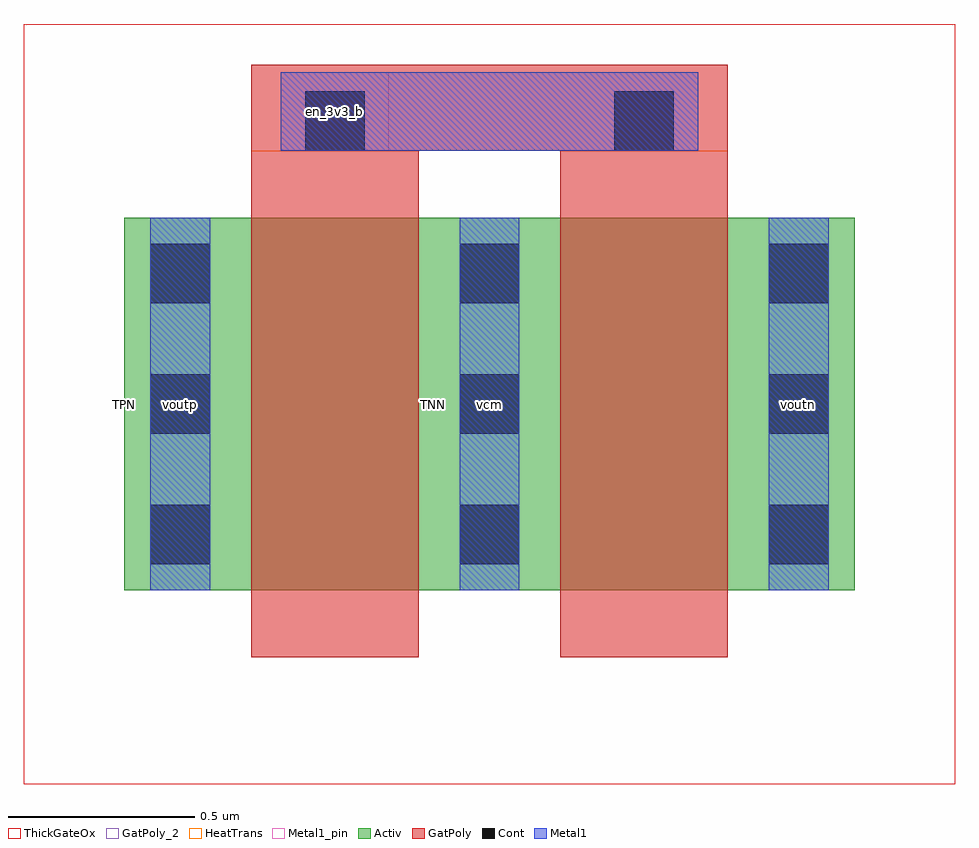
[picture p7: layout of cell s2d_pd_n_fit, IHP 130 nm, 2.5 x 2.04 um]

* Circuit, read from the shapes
.subckt s2d_pd_n_fit en_3v3_b vcm voutn voutp
XM1 vcm en_3v3_b voutp VSUBS sg13_hv_nmos w=1u l=0.45u
XM2 voutn en_3v3_b vcm VSUBS sg13_hv_nmos w=1u l=0.45u
.ends

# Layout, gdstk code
import gdstk
lib = gdstk.Library(unit=1e-6, precision=1e-09)
def R(c, l, rs):  # rectangles x0, y0, x1, y1
    for r in rs: c.add(gdstk.rectangle(r[:2], r[2:], *l))
def A(c, l, x, y, w, h, nx, ny, dx, dy):  # array of equal rectangles
    R(c, l, [(x+i*dx, y+j*dy, x+i*dx+w, y+j*dy+h) for i in range(nx) for j in range(ny)])
Activ = (1, 0)
GatPoly = (5, 0)
GatPoly_2 = (5, 2)
Cont = (6, 0)
Metal1 = (8, 0)
Metal1_pin = (8, 2)
ThickGateOx = (44, 0)
HeatTrans = (51, 0)

nmoshv_5 = lib.new_cell('nmosHV$5')
R(nmoshv_5, Activ, [(0,0,0.3,0.3), (0,0,1.13,1), (0.83,0,1.13,0.3)])
R(nmoshv_5, GatPoly, [(0.34,-0.18,0.79,1.18)])
R(nmoshv_5, GatPoly_2, [(0.34,-0.18,0.79,1.18)])
A(nmoshv_5, Cont, 0.07, 0.07, 0.16, 0.16, 1, 3, 0, 0.35)
A(nmoshv_5, Cont, 0.9, 0.07, 0.16, 0.16, 1, 3, 0, 0.35)
R(nmoshv_5, Metal1, [(0.07,0,0.23,1), (0.9,0,1.06,1)])
R(nmoshv_5, Metal1_pin, [(0.07,0,0.23,1), (0.9,0,1.06,1)])
R(nmoshv_5, ThickGateOx, [(-0.27,-0.52,1.4,1.52)])
R(nmoshv_5, HeatTrans, [(0.34,-0.18,0.79,1.18)])
nmoshv_5.add(gdstk.Label('nmosHV', (0.565,0.5), layer=63, texttype=0))
nmoshv_5.add(gdstk.Label('nmosHV', (0.565,0.5), layer=51, texttype=0))

s2d_pd_n_fit = lib.new_cell('s2d_pd_n_fit')
R(s2d_pd_n_fit, GatPoly, [(0.34,1.18,1.62,1.41)])
R(s2d_pd_n_fit, Cont, [(0.485,1.18,0.645,1.34), (1.315,1.18,1.475,1.34)])
R(s2d_pd_n_fit, Metal1, [(0.42,1.18,1.54,1.39)])
A(s2d_pd_n_fit, Metal1_pin, 0.07, 0.25, 0.16, 0.5, 3, 1, 0.83, 0)
R(s2d_pd_n_fit, Metal1_pin, [(0.42,1.18,0.71,1.39)])
r = gdstk.Reference(nmoshv_5, (0,0)); r.repetition = gdstk.Repetition(2, 1, v1=(0.83,0), v2=(0,0)); s2d_pd_n_fit.add(r)
s2d_pd_n_fit.add(gdstk.Label('TPN', (0,0.5), layer=63, texttype=0))
s2d_pd_n_fit.add(gdstk.Label('TNN', (0.83,0.5), layer=63, texttype=0))
s2d_pd_n_fit.add(gdstk.Label('en_3v3_b', (0.565,1.285), layer=8, texttype=25))
s2d_pd_n_fit.add(gdstk.Label('voutp', (0.15,0.5), layer=8, texttype=25))
s2d_pd_n_fit.add(gdstk.Label('vcm', (0.98,0.5), layer=8, texttype=25))
s2d_pd_n_fit.add(gdstk.Label('voutn', (1.81,0.5), layer=8, texttype=25))

lib.write_gds('s2d_pd_n_fit.gds')
